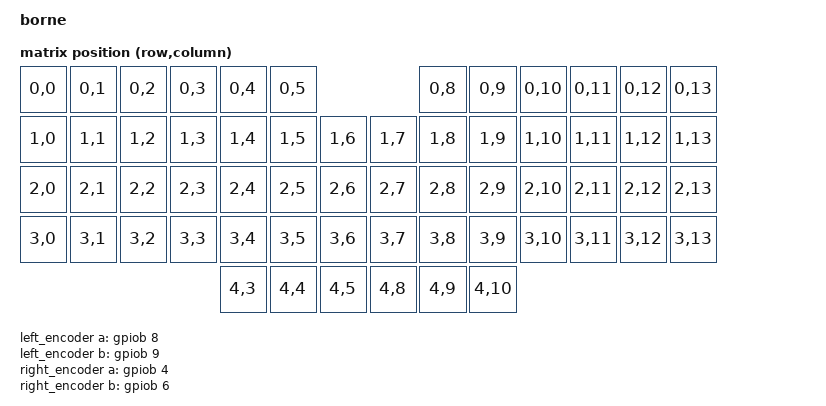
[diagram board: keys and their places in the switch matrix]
#include <dt-bindings/zmk/matrix_transform.h>
#include "borne-layouts.dtsi"

#include <st/f4/stm32f401Xc.dtsi>
#include <st/f4/stm32f401r(b-c)tx-pinctrl.dtsi>
#include <zephyr/dt-bindings/input/input-event-codes.h>

/ {

    model = "borne";
    compatible = "st,stm32f401";

    chosen {
        zephyr,sram = &sram0;
        zephyr,flash = &flash0;
        zephyr,code-partition = &slot0_partition;
        zmk,kscan = &kscan;
    };

    wired_split {
        compatible = "zmk,wired-split";
        device = <&usart1>;
    };

    kscan: kscan {
        compatible = "zmk,kscan-gpio-matrix";
        diode-direction = "col2row";
        wakeup-source;
    };

    left_encoder: left_encoder {
        compatible = "alps,ec11";
        label = "LEFT_ENCODER";
        a-gpios = <&gpiob 8 (GPIO_ACTIVE_HIGH | GPIO_PULL_UP)>;
        b-gpios = <&gpiob 9 (GPIO_ACTIVE_HIGH | GPIO_PULL_UP)>;
        resolution = <2>;
    };

    right_encoder: right_encoder {
        compatible = "alps,ec11";
        label = "RIGHT_ENCODER";
        a-gpios = <&gpiob 4 (GPIO_ACTIVE_HIGH | GPIO_PULL_UP)>;
        b-gpios = <&gpiob 6 (GPIO_ACTIVE_HIGH | GPIO_PULL_UP)>;
        resolution = <2>;
    };

    sensors {
      compatible = "zmk,keymap-sensors";
      sensors = <&left_encoder &right_encoder>;
    };

    default_transform: default_transform {
        compatible = "zmk,matrix-transform";
        columns = <14>;
        rows = <5>;

        map = <
            RC(0, 0) RC(0, 1) RC(0, 2) RC(0, 3) RC(0, 4) RC(0, 5)                      RC(0, 8) RC(0, 9)  RC(0, 10) RC(0, 11) RC(0, 12) RC(0, 13)
            RC(1, 0) RC(1, 1) RC(1, 2) RC(1, 3) RC(1, 4) RC(1, 5) RC(1, 6)    RC(1, 7) RC(1, 8) RC(1, 9)  RC(1, 10) RC(1, 11) RC(1, 12) RC(1, 13)
            RC(2, 0) RC(2, 1) RC(2, 2) RC(2, 3) RC(2, 4) RC(2, 5) RC(2, 6)    RC(2, 7) RC(2, 8) RC(2, 9)  RC(2, 10) RC(2, 11) RC(2, 12) RC(2, 13)
            RC(3, 0) RC(3, 1) RC(3, 2) RC(3, 3) RC(3, 4) RC(3, 5) RC(3, 6)    RC(3, 7) RC(3, 8) RC(3, 9)  RC(3, 10) RC(3, 11) RC(3, 12) RC(3, 13)
                                                RC(4, 3) RC(4, 4) RC(4, 5)    RC(4, 8) RC(4, 9) RC(4, 10)
        >;
    };
};

&flash0 {
  partitions {
    compatible = "fixed-partitions";
    #address-cells = < 0x1 >;
    #size-cells = < 0x1 >;
    slot0_partition: partition@10000 {
      label = "image-0";
      reg = < 0x10000 0x30000 >;
    };
  };
};

zephyr_udc0: &usbotg_fs {
	pinctrl-0 = <&usb_otg_fs_dm_pa11 &usb_otg_fs_dp_pa12>;
	pinctrl-names = "default";
  status="ok";
};

&clk_hse {
    clock-frequency = <DT_FREQ_M(16)>; 
    status = "okay";
};

&pll {
    clocks = <&clk_hse>;             
    div-m = <16>;                    
    mul-n = <192>;                   
    div-p = <4>;                     
    div-q = <4>;                     
    status = "okay";
};

&rcc {
    clocks = <&pll>;
    clock-frequency = <DT_FREQ_M(48)>; 
    ahb-prescaler = <1>;               
    apb1-prescaler = <4>;              
    apb2-prescaler = <2>;              
};

&pinctrl {
    /* Define the physical pin configurations for MCO1 and MCO2 */
    rcc_mco1_pa8: rcc_mco1_pa8 {
        pinmux = <STM32_PINMUX('A', 8, AF0)>; /* PA8 Alternate Function 0 */
        bias-disable;
        drive-push-pull;
        slew-rate = "very-high-speed";
    };

    rcc_mco2_pc9: rcc_mco2_pc9 {
        pinmux = <STM32_PINMUX('C', 9, AF0)>; /* PC9 Alternate Function 0 */
        bias-disable;
        drive-push-pull;
        slew-rate = "very-high-speed";
    };
};

&mco1 {
    clocks = <&rcc STM32_SRC_HSI MCO1_SEL(3)>;
    clock-names = "clksel";
    pinctrl-0 = <&rcc_mco1_pa8>;
    pinctrl-names = "default";
    prescaler = <MCO1_PRE(MCO_PRE_DIV_1)>;
    status = "okay";
};

&mco2 {
    clocks = <&rcc STM32_SRC_SYSCLK MCO2_SEL(0)>;
    clock-names = "clksel";
    pinctrl-0 = <&rcc_mco2_pc9>;
    pinctrl-names = "default";
    prescaler = <MCO2_PRE(MCO_PRE_DIV_5)>;
    status = "okay";
};

&plli2s {
    mul-n = <192>;
    div-r = <5>;
    status = "okay";
};

&rtc {
    clocks = <&rcc 0x40 0x10000000>, 
             <&rcc 0x03 0x10c80070>;
    status = "okay";
};

&usart1 {
	pinctrl-0 = <&usart1_tx_pa9 &usart1_rx_pa10>;
	pinctrl-names = "default";
	status = "okay";
	current-speed = <115200>;
};
